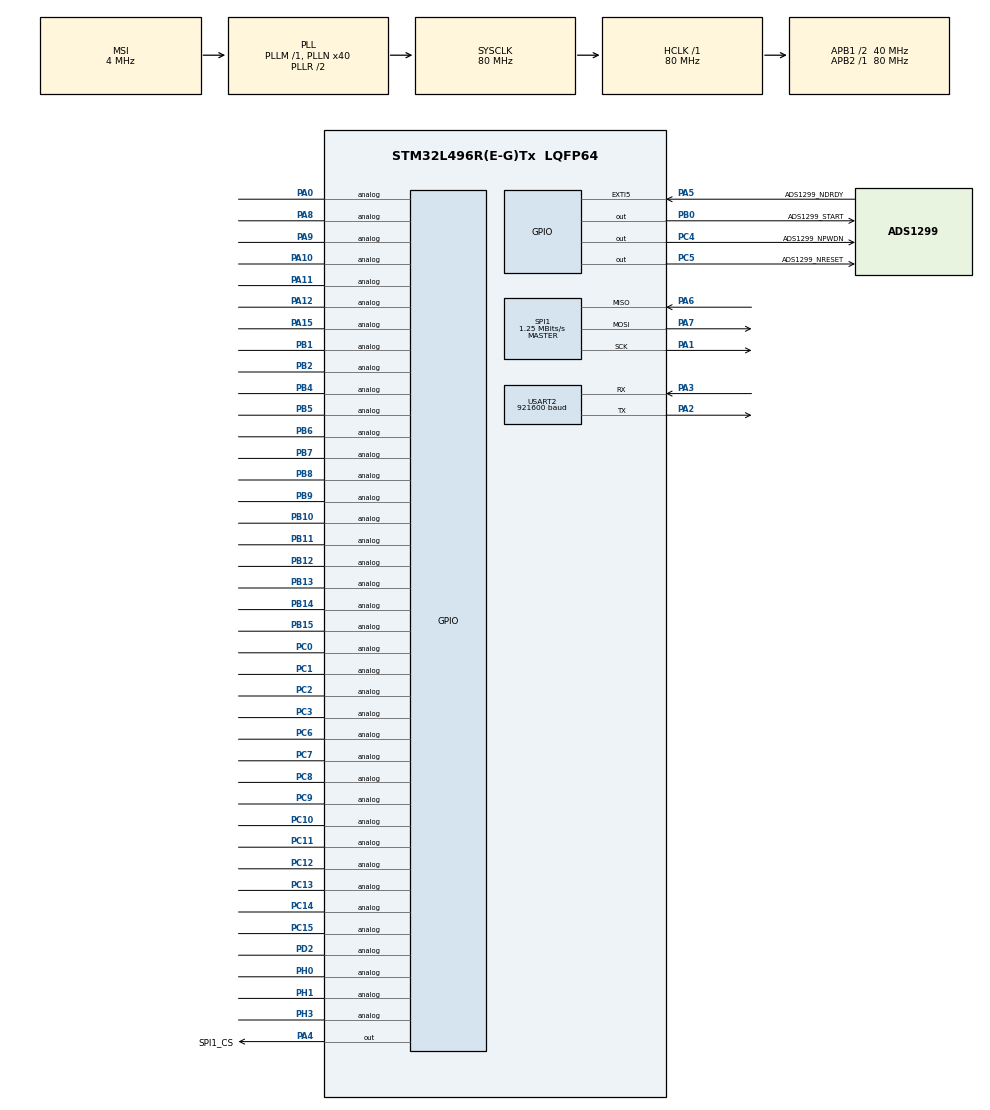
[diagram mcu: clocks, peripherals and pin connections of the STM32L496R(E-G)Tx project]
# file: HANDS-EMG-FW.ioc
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Mcu.Family=STM32L4
Mcu.Name=STM32L496R(E-G)Tx
Mcu.Package=LQFP64
NVIC.EXTI9_5_IRQn=true\:0\:0\:false\:false\:true\:true\:true\:true
NVIC.PriorityGroup=NVIC_PRIORITYGROUP_4
NVIC.SPI1_IRQn=true\:0\:0\:false\:false\:true\:true\:true\:true
PA0.Signal=GPIO_Analog
PA1.Mode=Full_Duplex_Master
PA1.Signal=SPI1_SCK
PA10.Signal=GPIO_Analog
PA11.Signal=GPIO_Analog
PA12.Signal=GPIO_Analog
PA13\ (JTMS/SWDIO).Mode=Serial_Wire
PA13\ (JTMS/SWDIO).Signal=SYS_JTMS-SWDIO
PA14\ (JTCK/SWCLK).Mode=Serial_Wire
PA14\ (JTCK/SWCLK).Signal=SYS_JTCK-SWCLK
PA15\ (JTDI).Signal=GPIO_Analog
PA2.Mode=Asynchronous
PA2.Signal=USART2_TX
PA3.Mode=Asynchronous
PA3.Signal=USART2_RX
PA4.GPIO_Label=SPI1_CS
PA4.Signal=GPIO_Output
PA5.GPIO_Label=ADS1299_NDRDY
PA5.GPIO_ModeDefaultEXTI=GPIO_MODE_IT_FALLING
PA5.Signal=GPXTI5
PA6.Mode=Full_Duplex_Master
PA6.Signal=SPI1_MISO
PA7.Mode=Full_Duplex_Master
PA7.Signal=SPI1_MOSI
PA8.Signal=GPIO_Analog
PA9.Signal=GPIO_Analog
PB0.GPIO_Label=ADS1299_START
PB0.Signal=GPIO_Output
PB1.Signal=GPIO_Analog
PB10.Signal=GPIO_Analog
PB11.Signal=GPIO_Analog
PB12.Signal=GPIO_Analog
PB13.Signal=GPIO_Analog
PB14.Signal=GPIO_Analog
PB15.Signal=GPIO_Analog
PB2.Signal=GPIO_Analog
PB3\ (JTDO/TRACESWO).Signal=SYS_JTDO-SWO
PB4\ (NJTRST).Signal=GPIO_Analog
PB5.Signal=GPIO_Analog
PB6.Signal=GPIO_Analog
PB7.Signal=GPIO_Analog
PB8.Signal=GPIO_Analog
PB9.Signal=GPIO_Analog
PC0.Signal=GPIO_Analog
PC1.Signal=GPIO_Analog
PC10.Signal=GPIO_Analog
PC11.Signal=GPIO_Analog
PC12.Signal=GPIO_Analog
PC13.Signal=GPIO_Analog
PC14-OSC32_IN\ (PC14).Signal=GPIO_Analog
PC15-OSC32_OUT\ (PC15).Signal=GPIO_Analog
PC2.Signal=GPIO_Analog
PC3.Signal=GPIO_Analog
PC4.GPIO_Label=ADS1299_NPWDN
PC4.Signal=GPIO_Output
PC5.GPIO_Label=ADS1299_NRESET
PC5.Signal=GPIO_Output
PC6.Signal=GPIO_Analog
PC7.Signal=GPIO_Analog
PC8.Signal=GPIO_Analog
PC9.Signal=GPIO_Analog
PD2.Signal=GPIO_Analog
PH0-OSC_IN\ (PH0).Signal=GPIO_Analog
PH1-OSC_OUT\ (PH1).Signal=GPIO_Analog
PH3-BOOT0.Signal=GPIO_Analog
ProjectManager.HeapSize=0x200
ProjectManager.StackSize=0x400
ProjectManager.TargetToolchain=STM32CubeIDE
RCC.AHBFreq_Value=80000000
RCC.APB1CLKDivider=RCC_HCLK_DIV2
RCC.APB1Freq_Value=40000000
RCC.APB1TimFreq_Value=80000000
RCC.APB2Freq_Value=80000000
RCC.APB2TimFreq_Value=80000000
RCC.CortexFreq_Value=80000000
RCC.HCLKFreq_Value=80000000
RCC.HSE_VALUE=8000000
RCC.HSI48_VALUE=48000000
RCC.HSI_VALUE=16000000
RCC.LSE_VALUE=32768
RCC.MSI_VALUE=4000000
RCC.PLLN=40
RCC.SYSCLKFreq_VALUE=80000000
RCC.SYSCLKSource=RCC_SYSCLKSOURCE_PLLCLK
RCC.VCOOutputFreq_Value=160000000
SPI1.BaudRatePrescaler=SPI_BAUDRATEPRESCALER_64
SPI1.CLKPhase=SPI_PHASE_2EDGE
SPI1.CalculateBaudRate=1.25 MBits/s
SPI1.DataSize=SPI_DATASIZE_8BIT
SPI1.Direction=SPI_DIRECTION_2LINES
SPI1.Mode=SPI_MODE_MASTER
SPI1.VirtualType=VM_MASTER
USART2.BaudRate=921600
USART2.Parity=PARITY_EVEN
USART2.VirtualMode-Asynchronous=VM_ASYNC
USART2.WordLength=WORDLENGTH_9B
board=custom

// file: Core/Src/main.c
/* USER CODE BEGIN Header */
/**
  ******************************************************************************
  * @file           : main.c
  * @brief          : Main program body
  ******************************************************************************
  * @attention
  *
  * Copyright (c) 2025 STMicroelectronics.
  * All rights reserved.
  *
  * This software is licensed under terms that can be found in the LICENSE file
  * in the root directory of this software component.
  * If no LICENSE file comes with this software, it is provided AS-IS.
  *
  ******************************************************************************
  */
/* USER CODE END Header */
#include "main.h"

/* USER CODE BEGIN Includes */
#include <stdlib.h>		// For exit()
#include <math.h>		// For fabsf(float);
#include <stdbool.h>	// For bool activation_trigger, bool ml_collecting
#include <stdint.h>		// For uints etc.

#include "ads1299.h"
#include "NanoEdgeAI.h"
#include "knowledge.h"
/* USER CODE END Includes */

SPI_HandleTypeDef hspi1;

UART_HandleTypeDef huart2;

/* USER CODE BEGIN PV */

// =======================
//        Defines
// =======================
#define ML_SAMPLE_COUNT         1024       // Number of samples for ML input
#define INTENSITY_BUFFER_SIZE   10	        // Short buffer window for intensity comparison

#define USE_THRESHOLDING		1
#define INTENSITY_THRESHOLD     1.15f       // 80% increase threshold

#define ML_TRAINING_MODE		0

#if ML_TRAINING_MODE
#define GRAPH_MODE_ENABLED 0
#define CHUNK_MODE_ENABLED 1
#else
#define GRAPH_MODE_ENABLED 1
#define CHUNK_MODE_ENABLED 0
#endif

// =======================
//     Global Variables
// =======================

// --- ML buffer ---
volatile float ml_buffer[ML_SAMPLE_COUNT * 4];  // Interleaved EMG: CH1_0, CH2_0, ..., CH4_1023
volatile float output_class_buffer[CLASS_NUMBER];
volatile uint16_t ml_index = 0;
volatile bool ml_collecting = false;
volatile uint32_t ml_class = 0;                 // Last ML classification result (0 = none)

// --- Intensity detection ---

static bool intensity_initialized = false;
#define TRIGG_WAIT 251
volatile uint32_t just_triggered = 0;

volatile float ch1_buffer[INTENSITY_BUFFER_SIZE] = {0};
volatile float ch2_buffer[INTENSITY_BUFFER_SIZE] = {0};
volatile float ch3_buffer[INTENSITY_BUFFER_SIZE] = {0};
volatile float ch4_buffer[INTENSITY_BUFFER_SIZE] = {0};

volatile float ch1_I1 = 0, ch1_I2 = 0;
volatile float ch2_I1 = 0, ch2_I2 = 0;
volatile float ch3_I1 = 0, ch3_I2 = 0;
volatile float ch4_I1 = 0, ch4_I2 = 0;

volatile uint16_t intensity_counter = 0;

/* USER CODE END PV */

void SystemClock_Config(void);
static void MX_GPIO_Init(void);
static void MX_SPI1_Init(void);
static void MX_USART2_UART_Init(void);

int main(void)
{

  /* MCU Configuration--------------------------------------------------------*/

  /* Reset of all peripherals, Initializes the Flash interface and the Systick. */
  HAL_Init();

  /* Configure the system clock */
  SystemClock_Config();

  /* Initialize all configured peripherals */
  MX_GPIO_Init();
  MX_SPI1_Init();
  MX_USART2_UART_Init();
  /* USER CODE BEGIN 2 */
  // Enable digital I/O to default state ADS1299
    HAL_GPIO_WritePin(SPI1_CS_GPIO_Port, SPI1_CS_Pin, GPIO_PIN_SET);
    HAL_GPIO_WritePin(ADS1299_NRESET_GPIO_Port, ADS1299_NRESET_Pin, GPIO_PIN_SET);
    HAL_GPIO_WritePin(ADS1299_NPWDN_GPIO_Port, ADS1299_NPWDN_Pin, GPIO_PIN_SET);

    // Initialize ADS1299
    ads1299_device_init(&hspi1, 1);
    HAL_Delay(1000);
    HAL_GPIO_WritePin(ADS1299_START_GPIO_Port, ADS1299_START_Pin, GPIO_PIN_SET);

    // Initialize ML
    enum neai_state error_code = neai_classification_init(knowledge);
    if (error_code != NEAI_OK) {
  	  exit(1);
    }

  /* USER CODE END 2 */

  /* Infinite loop */
  while (1)
  {

  }
}

void SystemClock_Config(void)
{
  RCC_OscInitTypeDef RCC_OscInitStruct = {0};
  RCC_ClkInitTypeDef RCC_ClkInitStruct = {0};

  /** Configure the main internal regulator output voltage
  */
  if (HAL_PWREx_ControlVoltageScaling(PWR_REGULATOR_VOLTAGE_SCALE1) != HAL_OK)
  {
    Error_Handler();
  }

  /** Initializes the RCC Oscillators according to the specified parameters
  * in the RCC_OscInitTypeDef structure.
  */
  RCC_OscInitStruct.OscillatorType = RCC_OSCILLATORTYPE_MSI;
  RCC_OscInitStruct.MSIState = RCC_MSI_ON;
  RCC_OscInitStruct.MSICalibrationValue = 0;
  RCC_OscInitStruct.MSIClockRange = RCC_MSIRANGE_6;
  RCC_OscInitStruct.PLL.PLLState = RCC_PLL_ON;
  RCC_OscInitStruct.PLL.PLLSource = RCC_PLLSOURCE_MSI;
  RCC_OscInitStruct.PLL.PLLM = 1;
  RCC_OscInitStruct.PLL.PLLN = 40;
  RCC_OscInitStruct.PLL.PLLP = RCC_PLLP_DIV2;
  RCC_OscInitStruct.PLL.PLLQ = RCC_PLLQ_DIV2;
  RCC_OscInitStruct.PLL.PLLR = RCC_PLLR_DIV2;
  if (HAL_RCC_OscConfig(&RCC_OscInitStruct) != HAL_OK)
  {
    Error_Handler();
  }

  /** Initializes the CPU, AHB and APB buses clocks
  */
  RCC_ClkInitStruct.ClockType = RCC_CLOCKTYPE_HCLK|RCC_CLOCKTYPE_SYSCLK
                              |RCC_CLOCKTYPE_PCLK1|RCC_CLOCKTYPE_PCLK2;
  RCC_ClkInitStruct.SYSCLKSource = RCC_SYSCLKSOURCE_PLLCLK;
  RCC_ClkInitStruct.AHBCLKDivider = RCC_SYSCLK_DIV1;
  RCC_ClkInitStruct.APB1CLKDivider = RCC_HCLK_DIV2;
  RCC_ClkInitStruct.APB2CLKDivider = RCC_HCLK_DIV1;

  if (HAL_RCC_ClockConfig(&RCC_ClkInitStruct, FLASH_LATENCY_4) != HAL_OK)
  {
    Error_Handler();
  }
}

static void MX_SPI1_Init(void)
{

  /* SPI1 parameter configuration*/
  hspi1.Instance = SPI1;
  hspi1.Init.Mode = SPI_MODE_MASTER;
  hspi1.Init.Direction = SPI_DIRECTION_2LINES;
  hspi1.Init.DataSize = SPI_DATASIZE_8BIT;
  hspi1.Init.CLKPolarity = SPI_POLARITY_LOW;
  hspi1.Init.CLKPhase = SPI_PHASE_2EDGE;
  hspi1.Init.NSS = SPI_NSS_SOFT;
  hspi1.Init.BaudRatePrescaler = SPI_BAUDRATEPRESCALER_64;
  hspi1.Init.FirstBit = SPI_FIRSTBIT_MSB;
  hspi1.Init.TIMode = SPI_TIMODE_DISABLE;
  hspi1.Init.CRCCalculation = SPI_CRCCALCULATION_DISABLE;
  hspi1.Init.CRCPolynomial = 7;
  hspi1.Init.CRCLength = SPI_CRC_LENGTH_DATASIZE;
  hspi1.Init.NSSPMode = SPI_NSS_PULSE_DISABLE;
  if (HAL_SPI_Init(&hspi1) != HAL_OK)
  {
    Error_Handler();
  }

}

static void MX_USART2_UART_Init(void)
{

  huart2.Instance = USART2;
  huart2.Init.BaudRate = 921600;
  huart2.Init.WordLength = UART_WORDLENGTH_9B;
  huart2.Init.StopBits = UART_STOPBITS_1;
  huart2.Init.Parity = UART_PARITY_EVEN;
  huart2.Init.Mode = UART_MODE_TX_RX;
  huart2.Init.HwFlowCtl = UART_HWCONTROL_NONE;
  huart2.Init.OverSampling = UART_OVERSAMPLING_16;
  huart2.Init.OneBitSampling = UART_ONE_BIT_SAMPLE_DISABLE;
  huart2.AdvancedInit.AdvFeatureInit = UART_ADVFEATURE_NO_INIT;
  if (HAL_UART_Init(&huart2) != HAL_OK)
  {
    Error_Handler();
  }

}

static void MX_GPIO_Init(void)
{
  GPIO_InitTypeDef GPIO_InitStruct = {0};

  /* GPIO Ports Clock Enable */
  __HAL_RCC_GPIOC_CLK_ENABLE();
  __HAL_RCC_GPIOH_CLK_ENABLE();
  __HAL_RCC_GPIOA_CLK_ENABLE();
  __HAL_RCC_GPIOB_CLK_ENABLE();
  __HAL_RCC_GPIOD_CLK_ENABLE();

  /*Configure GPIO pin Output Level */
  HAL_GPIO_WritePin(SPI1_CS_GPIO_Port, SPI1_CS_Pin, GPIO_PIN_RESET);

  /*Configure GPIO pin Output Level */
  HAL_GPIO_WritePin(GPIOC, ADS1299_NPWDN_Pin|ADS1299_NRESET_Pin, GPIO_PIN_RESET);

  /*Configure GPIO pin Output Level */
  HAL_GPIO_WritePin(ADS1299_START_GPIO_Port, ADS1299_START_Pin, GPIO_PIN_RESET);

  /*Configure GPIO pins : PC13 PC14 PC15 PC0
                           PC1 PC2 PC3 PC6
                           PC7 PC8 PC9 PC10
                           PC11 PC12 */
  GPIO_InitStruct.Pin = GPIO_PIN_13|GPIO_PIN_14|GPIO_PIN_15|GPIO_PIN_0
                          |GPIO_PIN_1|GPIO_PIN_2|GPIO_PIN_3|GPIO_PIN_6
                          |GPIO_PIN_7|GPIO_PIN_8|GPIO_PIN_9|GPIO_PIN_10
                          |GPIO_PIN_11|GPIO_PIN_12;
  GPIO_InitStruct.Mode = GPIO_MODE_ANALOG;
  GPIO_InitStruct.Pull = GPIO_NOPULL;
  HAL_GPIO_Init(GPIOC, &GPIO_InitStruct);

  /*Configure GPIO pins : PH0 PH1 PH3 */
  GPIO_InitStruct.Pin = GPIO_PIN_0|GPIO_PIN_1|GPIO_PIN_3;
  GPIO_InitStruct.Mode = GPIO_MODE_ANALOG;
  GPIO_InitStruct.Pull = GPIO_NOPULL;
  HAL_GPIO_Init(GPIOH, &GPIO_InitStruct);

  /*Configure GPIO pins : PA0 PA8 PA9 PA10
                           PA11 PA12 PA15 */
  GPIO_InitStruct.Pin = GPIO_PIN_0|GPIO_PIN_8|GPIO_PIN_9|GPIO_PIN_10
                          |GPIO_PIN_11|GPIO_PIN_12|GPIO_PIN_15;
  GPIO_InitStruct.Mode = GPIO_MODE_ANALOG;
  GPIO_InitStruct.Pull = GPIO_NOPULL;
  HAL_GPIO_Init(GPIOA, &GPIO_InitStruct);

  /*Configure GPIO pin : SPI1_CS_Pin */
  GPIO_InitStruct.Pin = SPI1_CS_Pin;
  GPIO_InitStruct.Mode = GPIO_MODE_OUTPUT_PP;
  GPIO_InitStruct.Pull = GPIO_NOPULL;
  GPIO_InitStruct.Speed = GPIO_SPEED_FREQ_LOW;
  HAL_GPIO_Init(SPI1_CS_GPIO_Port, &GPIO_InitStruct);

  /*Configure GPIO pin : ADS1299_NDRDY_Pin */
  GPIO_InitStruct.Pin = ADS1299_NDRDY_Pin;
  GPIO_InitStruct.Mode = GPIO_MODE_IT_FALLING;
  GPIO_InitStruct.Pull = GPIO_NOPULL;
  HAL_GPIO_Init(ADS1299_NDRDY_GPIO_Port, &GPIO_InitStruct);

  /*Configure GPIO pins : ADS1299_NPWDN_Pin ADS1299_NRESET_Pin */
  GPIO_InitStruct.Pin = ADS1299_NPWDN_Pin|ADS1299_NRESET_Pin;
  GPIO_InitStruct.Mode = GPIO_MODE_OUTPUT_PP;
  GPIO_InitStruct.Pull = GPIO_NOPULL;
  GPIO_InitStruct.Speed = GPIO_SPEED_FREQ_LOW;
  HAL_GPIO_Init(GPIOC, &GPIO_InitStruct);

  /*Configure GPIO pin : ADS1299_START_Pin */
  GPIO_InitStruct.Pin = ADS1299_START_Pin;
  GPIO_InitStruct.Mode = GPIO_MODE_OUTPUT_PP;
  GPIO_InitStruct.Pull = GPIO_NOPULL;
  GPIO_InitStruct.Speed = GPIO_SPEED_FREQ_LOW;
  HAL_GPIO_Init(ADS1299_START_GPIO_Port, &GPIO_InitStruct);

  /*Configure GPIO pins : PB1 PB2 PB10 PB11
                           PB12 PB13 PB14 PB15
                           PB4 PB5 PB6 PB7
                           PB8 PB9 */
  GPIO_InitStruct.Pin = GPIO_PIN_1|GPIO_PIN_2|GPIO_PIN_10|GPIO_PIN_11
                          |GPIO_PIN_12|GPIO_PIN_13|GPIO_PIN_14|GPIO_PIN_15
                          |GPIO_PIN_4|GPIO_PIN_5|GPIO_PIN_6|GPIO_PIN_7
                          |GPIO_PIN_8|GPIO_PIN_9;
  GPIO_InitStruct.Mode = GPIO_MODE_ANALOG;
  GPIO_InitStruct.Pull = GPIO_NOPULL;
  HAL_GPIO_Init(GPIOB, &GPIO_InitStruct);

  /*Configure GPIO pin : PD2 */
  GPIO_InitStruct.Pin = GPIO_PIN_2;
  GPIO_InitStruct.Mode = GPIO_MODE_ANALOG;
  GPIO_InitStruct.Pull = GPIO_NOPULL;
  HAL_GPIO_Init(GPIOD, &GPIO_InitStruct);

  /* EXTI interrupt init*/
  HAL_NVIC_SetPriority(EXTI9_5_IRQn, 0, 0);
  HAL_NVIC_EnableIRQ(EXTI9_5_IRQn);

}

/* USER CODE BEGIN 4 */
/**
 * @brief When DRDY falling edge, transmit to read data
 * @param GPIO Pin that interrupt happened
 * @return None
 */
void HAL_GPIO_EXTI_Callback(uint16_t GPIO_Pin)
{
  // If we see NDRDY, we begin reading data
  if(GPIO_Pin == ADS1299_NDRDY_Pin) {
    ads1299_read_data_IT(&hspi1);
  } else {
      __NOP();
  }
}

/**
 * @brief Call back that occurs when ADS is fully read from
 */
void HAL_SPI_TxRxCpltCallback(SPI_HandleTypeDef *hspi)
{
	// 1. De-assert chip select
    HAL_GPIO_WritePin(SPI1_CS_GPIO_Port, SPI1_CS_Pin, GPIO_PIN_SET);

    // 2. Extract and check ADS1299 status bits
    uint32_t status = (RX_BUFF[0] << 16) | (RX_BUFF[1] << 8) | RX_BUFF[2];
    if (status != 0b110000000000000000000000) {
        uint8_t fail_msg[] = {'F', 'A', 'I', 'L'};
        HAL_UART_Transmit(&huart2, fail_msg, sizeof(fail_msg), HAL_MAX_DELAY);
        return;
    }

    // 3. Parse 4 EMG channels from ADS1299 (3 bytes per channel)
    float ch[4];
    for (int i = 0; i < 4; i++) {
        uint32_t raw = (RX_BUFF[3 + i * 3] << 16) |
                       (RX_BUFF[4 + i * 3] << 8) |
                       (RX_BUFF[5 + i * 3]);
        ch[i] = ads1299_data_to_float(raw);
    }

#if USE_THRESHOLDING
    // 4. Update intensity buffers (absolute value)
    ch1_buffer[intensity_counter] = fabsf(ch[0]);
    ch2_buffer[intensity_counter] = fabsf(ch[1]);
    ch3_buffer[intensity_counter] = fabsf(ch[2]);
    ch4_buffer[intensity_counter] = fabsf(ch[3]);
    intensity_counter++;

    bool activation_triggered = false;

    if (intensity_counter >= INTENSITY_BUFFER_SIZE) {
    	if (!intensity_initialized) {
			ch1_I1 = ch2_I1 = ch3_I1 = ch4_I1 = 1e-6f;  // Avoid divide-by-zero
			intensity_initialized = true;
			return;
		}
        // Shift intensities: I1 <- I2, I2 <- new average
        ch1_I1 = ch1_I2; ch2_I1 = ch2_I2; ch3_I1 = ch3_I2; ch4_I1 = ch4_I2;
        ch1_I2 = ch2_I2 = ch3_I2 = ch4_I2 = 0.0f;

        for (int i = 0; i < INTENSITY_BUFFER_SIZE; i++) {
            ch1_I2 += ch1_buffer[i];
            ch2_I2 += ch2_buffer[i];
            ch3_I2 += ch3_buffer[i];
            ch4_I2 += ch4_buffer[i];
        }

        ch1_I2 /= INTENSITY_BUFFER_SIZE;
        ch2_I2 /= INTENSITY_BUFFER_SIZE;
        ch3_I2 /= INTENSITY_BUFFER_SIZE;
        ch4_I2 /= INTENSITY_BUFFER_SIZE;

        // Compare for significant intensity increase
        if (((ch1_I2 >= INTENSITY_THRESHOLD * ch1_I1) ||
            (ch2_I2 >= INTENSITY_THRESHOLD * ch2_I1) ||
            (ch3_I2 >= INTENSITY_THRESHOLD * ch3_I1) ||
            (ch4_I2 >= INTENSITY_THRESHOLD * ch4_I1))&& just_triggered >= TRIGG_WAIT) {
            activation_triggered = true;
            just_triggered = 0;
        } else {
        	if (just_triggered < TRIGG_WAIT+2) {
        		just_triggered++;
        	}
        }

        intensity_counter = 0;
    }

    // 5. Handle ML buffer activation
    if (activation_triggered && !ml_collecting) {
        ml_collecting = true;
        ml_index = 0;
    }
#else
    ml_collecting = true;
#endif

    // 6. Collect into ML buffer
    if (ml_collecting) {
        ml_buffer[ml_index++] = ch[0];
        ml_buffer[ml_index++] = ch[1];
        ml_buffer[ml_index++] = ch[2];
        ml_buffer[ml_index++] = ch[3];

        if (ml_index >= ML_SAMPLE_COUNT * 4) {
//             Run classification
        	__disable_irq();
            uint16_t class_id = 0;
            neai_classification((float *)ml_buffer, (float *)output_class_buffer, &class_id);
            ml_class = (uint32_t)class_id;
            __enable_irq();

#if CHUNK_MODE_ENABLED
            // Transmit full buffer + classification result
            uint32_t header = 0x53594E43;  // "SYNC"
            HAL_UART_Transmit(&huart2, (uint8_t*)&header, sizeof(header), HAL_MAX_DELAY);
            HAL_UART_Transmit(&huart2, (uint8_t*)ml_buffer, sizeof(float) * ML_SAMPLE_COUNT * 4, HAL_MAX_DELAY);
            HAL_UART_Transmit(&huart2, (uint8_t*)&ml_class, sizeof(ml_class), HAL_MAX_DELAY);
#endif

            ml_index = 0;
            ml_collecting = false;
        }
    }

#if GRAPH_MODE_ENABLED
    // 7. Transmit single sample for live plotting
    float tx_buffer[6];
    tx_buffer[0] = *(float*)&(uint32_t){0x53594E43};  // "SYNC" as float
    tx_buffer[1] = ch[0];
    tx_buffer[2] = ch[1];
    tx_buffer[3] = ch[2];
    tx_buffer[4] = ch[3];
    tx_buffer[5] = *(float*)&ml_class;

    HAL_UART_Transmit(&huart2, (uint8_t*)tx_buffer, sizeof(tx_buffer), HAL_MAX_DELAY);

    // Reset classification until next result
    ml_class = 0;
#endif
}

/* USER CODE END 4 */

void Error_Handler(void)
{
  __disable_irq();
  while (1)
  {
  }
}
